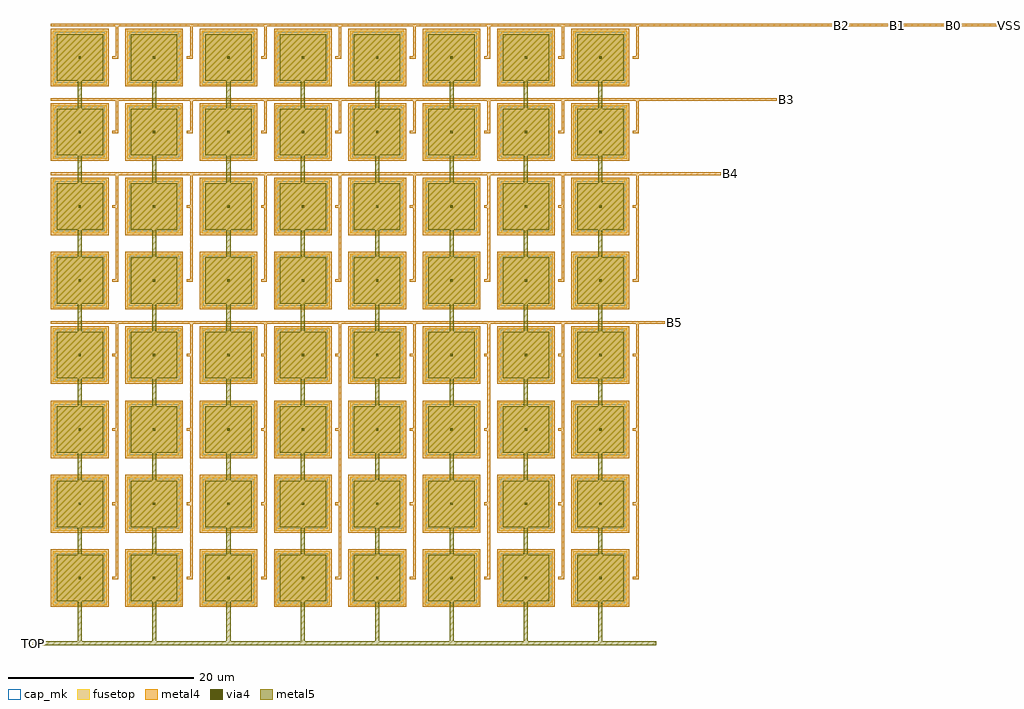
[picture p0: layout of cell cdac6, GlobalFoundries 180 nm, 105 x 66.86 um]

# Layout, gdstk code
import gdstk
lib = gdstk.Library(unit=1e-6, precision=1e-09)
def R(c, l, rs):  # rectangles x0, y0, x1, y1
    for r in rs: c.add(gdstk.rectangle(r[:2], r[2:], *l))
def A(c, l, x, y, w, h, nx, ny, dx, dy):  # array of equal rectangles
    R(c, l, [(x+i*dx, y+j*dy, x+i*dx+w, y+j*dy+h) for i in range(nx) for j in range(ny)])
via4 = (41, 0)
metal4 = (46, 0)
fusetop = (75, 0)
metal5 = (81, 0)
cap_mk = (117, 5)

cdac6 = lib.new_cell('cdac6')
A(cdac6, via4, 3.87, 3.87, 0.26, 0.26, 8, 8, 8, 8)
A(cdac6, metal4, 0.9, 0.9, 6.2, 6.2, 8, 8, 8, 8)
A(cdac6, metal4, 7.5, 3.86, 0.5, 0.28, 8, 8, 8, 8)
A(cdac6, metal4, 7.86, 3.86, 0.28, 27.78, 8, 1, 8, 0)
A(cdac6, metal4, 7.86, 11.86, 0.28, 19.78, 8, 1, 8, 0)
A(cdac6, metal4, 7.86, 19.86, 0.28, 11.78, 8, 2, 8, 16)
A(cdac6, metal4, 7.86, 27.86, 0.28, 3.78, 8, 2, 8, 16)
A(cdac6, metal4, 7.86, 51.86, 0.28, 3.78, 8, 2, 8, 8)
R(cdac6, metal4, [(0.9,31.36,63.1,31.64), (63.1,31.36,67,31.64), (0.9,47.36,63.1,47.64), (63.1,47.36,73,47.64), (0.9,55.36,63.1,55.64), (63.1,55.36,79,55.64), (0.9,63.36,31.1,63.64), (31.1,63.36,85,63.64), (32.9,63.36,47.1,63.64), (47.1,63.36,91,63.64), (48.9,63.36,55.1,63.64), (55.1,63.36,97,63.64), (56.9,63.36,63.1,63.64), (63.1,63.36,103,63.64)])
A(cdac6, fusetop, 1.1, 1.1, 5.8, 5.8, 8, 8, 8, 8)
A(cdac6, metal5, 3.78, -3.22, 0.44, 33.72, 8, 1, 8, 0)
A(cdac6, metal5, 3.78, -3.22, 0.44, 41.72, 8, 1, 8, 0)
A(cdac6, metal5, 3.78, -3.22, 0.44, 49.72, 8, 1, 8, 0)
A(cdac6, metal5, 3.78, -3.22, 0.44, 57.72, 8, 1, 8, 0)
A(cdac6, metal5, 3.78, -3.22, 0.44, 65.72, 8, 1, 8, 0)
A(cdac6, metal5, 3.78, -3.22, 0.44, 17.72, 8, 1, 8, 0)
A(cdac6, metal5, 3.78, -3.22, 0.44, 25.72, 8, 1, 8, 0)
A(cdac6, metal5, 3.78, -3.22, 0.44, 9.72, 8, 1, 8, 0)
A(cdac6, metal5, 1.5, 1.5, 5, 5, 8, 8, 8, 8)
R(cdac6, metal5, [(-2,-3.22,66,-2.78)])
A(cdac6, cap_mk, 1.3, 1.3, 5.4, 5.4, 8, 8, 8, 8)
cdac6.add(gdstk.Label('TOP', (-1,-3), layer=81, texttype=10))
cdac6.add(gdstk.Label('B5', (68,31.5), layer=46, texttype=10))
cdac6.add(gdstk.Label('B4', (74,47.5), layer=46, texttype=10))
cdac6.add(gdstk.Label('B3', (80,55.5), layer=46, texttype=10))
cdac6.add(gdstk.Label('B2', (86,63.5), layer=46, texttype=10))
cdac6.add(gdstk.Label('B1', (92,63.5), layer=46, texttype=10))
cdac6.add(gdstk.Label('B0', (98,63.5), layer=46, texttype=10))
cdac6.add(gdstk.Label('VSS', (104,63.5), layer=46, texttype=10))

lib.write_gds('cdac6.gds')
